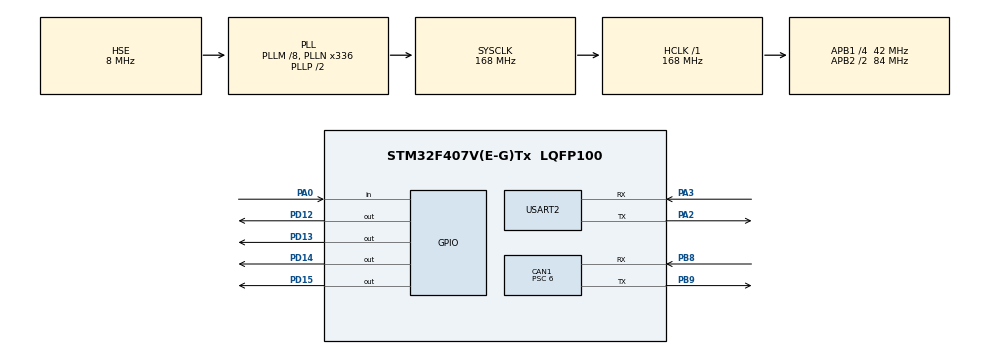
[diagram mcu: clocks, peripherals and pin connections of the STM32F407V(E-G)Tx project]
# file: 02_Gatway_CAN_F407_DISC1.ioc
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CAN1.BS1=CAN_BS1_11TQ
CAN1.BS2=CAN_BS2_2TQ
CAN1.CalculateBaudRate=500000
CAN1.CalculateTimeBit=2000
CAN1.CalculateTimeQuantum=142.85714285714286
CAN1.Prescaler=6
Mcu.Family=STM32F4
Mcu.Name=STM32F407V(E-G)Tx
Mcu.Package=LQFP100
NVIC.CAN1_RX0_IRQn=true\:1\:0\:true\:false\:true\:true\:true\:true
NVIC.PriorityGroup=NVIC_PRIORITYGROUP_4
NVIC.USART2_IRQn=true\:1\:0\:true\:false\:true\:true\:true\:true
PA0-WKUP.Signal=GPIO_Input
PA2.Mode=Asynchronous
PA2.Signal=USART2_TX
PA3.Mode=Asynchronous
PA3.Signal=USART2_RX
PB8.Mode=CAN_Activate
PB8.Signal=CAN1_RX
PB9.Mode=CAN_Activate
PB9.Signal=CAN1_TX
PD12.Signal=GPIO_Output
PD13.Signal=GPIO_Output
PD14.Signal=GPIO_Output
PD15.Signal=GPIO_Output
PH0-OSC_IN.Mode=HSE-External-Oscillator
PH0-OSC_IN.Signal=RCC_OSC_IN
PH1-OSC_OUT.Mode=HSE-External-Oscillator
PH1-OSC_OUT.Signal=RCC_OSC_OUT
ProjectManager.HeapSize=0x200
ProjectManager.StackSize=0x400
ProjectManager.TargetToolchain=STM32CubeIDE
RCC.48MHZClocksFreq_Value=48000000
RCC.AHBFreq_Value=168000000
RCC.APB1CLKDivider=RCC_HCLK_DIV4
RCC.APB1Freq_Value=42000000
RCC.APB1TimFreq_Value=84000000
RCC.APB2CLKDivider=RCC_HCLK_DIV2
RCC.APB2Freq_Value=84000000
RCC.APB2TimFreq_Value=168000000
RCC.CortexFreq_Value=168000000
RCC.HCLKFreq_Value=168000000
RCC.HSE_VALUE=8000000
RCC.HSI_VALUE=16000000
RCC.LSE_VALUE=32768
RCC.PLLM=8
RCC.PLLN=336
RCC.PLLQ=7
RCC.PLLSourceVirtual=RCC_PLLSOURCE_HSE
RCC.SYSCLKFreq_VALUE=168000000
RCC.SYSCLKSource=RCC_SYSCLKSOURCE_PLLCLK
RCC.VCOOutputFreq_Value=336000000
USART2.VirtualMode=VM_ASYNC
board=STM32F407G-DISC1

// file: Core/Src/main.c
/* USER CODE BEGIN Header */
/**
  ******************************************************************************
  * @file           : main.c
  * @brief          : Main program body
  ******************************************************************************
  * @attention
  *
  * Copyright (c) 2025 STMicroelectronics.
  * All rights reserved.
  *
  * This software is licensed under terms that can be found in the LICENSE file
  * in the root directory of this software component.
  * If no LICENSE file comes with this software, it is provided AS-IS.
  *
  ******************************************************************************
  */
/* USER CODE END Header */
#include "main.h"

/* USER CODE BEGIN Includes */
#include <string.h>
#include <stdio.h>
/* USER CODE END Includes */

/* USER CODE BEGIN PD */
#define RX_BUFFER_SIZE 20
/* USER CODE END PD */

CAN_HandleTypeDef hcan1;

UART_HandleTypeDef huart2;

/* USER CODE BEGIN PV */

CAN_RxHeaderTypeDef rxHeader;
uint8_t rxData[8];

uint8_t canIdBuffer[4];
uint32_t receivedCanId;

/* USER CODE END PV */

void SystemClock_Config(void);
static void MX_GPIO_Init(void);
static void MX_CAN1_Init(void);
static void MX_USART2_UART_Init(void);
/* USER CODE BEGIN PFP */
void sendTestCANFrames(void);
void sendTestUartCANFrames(void);
/* USER CODE END PFP */

int main(void)
{

  /* MCU Configuration--------------------------------------------------------*/

  /* Reset of all peripherals, Initializes the Flash interface and the Systick. */
  HAL_Init();

  /* Configure the system clock */
  SystemClock_Config();

  /* Initialize all configured peripherals */
  MX_GPIO_Init();
  MX_CAN1_Init();
  MX_USART2_UART_Init();
  /* USER CODE BEGIN 2 */

  char msg[] = "Hello from STM32F407!\r\n";

  // Transmit message
  HAL_UART_Transmit(&huart2, (uint8_t*)msg, strlen(msg), 100);

  HAL_UART_Receive_IT(&huart2, canIdBuffer, 4);

  /* USER CODE END 2 */

  /* Infinite loop */
  while (1)
  {

      /* USER CODE BEGIN 3 */
      // Check if User Button is pressed (active HIGH)
   /*   if (HAL_GPIO_ReadPin(GPIOA, GPIO_PIN_0) == GPIO_PIN_SET)
      {
          // Simple debounce delay
          HAL_Delay(50);

          // Check again to confirm button press
          if (HAL_GPIO_ReadPin(GPIOA, GPIO_PIN_0) == GPIO_PIN_SET)
          {
              //sendTestCANFrames(); // Call your function
              sendTestUartCANFrames();   // 🔥 Send the 3 test messages
              // Wait until button is released to avoid multiple triggers
              while (HAL_GPIO_ReadPin(GPIOA, GPIO_PIN_0) == GPIO_PIN_SET);
          }
      }*/

  }
  /* USER CODE END 3 */
  }

void SystemClock_Config(void)
{
  RCC_OscInitTypeDef RCC_OscInitStruct = {0};
  RCC_ClkInitTypeDef RCC_ClkInitStruct = {0};

  /** Configure the main internal regulator output voltage
  */
  __HAL_RCC_PWR_CLK_ENABLE();
  __HAL_PWR_VOLTAGESCALING_CONFIG(PWR_REGULATOR_VOLTAGE_SCALE1);

  /** Initializes the RCC Oscillators according to the specified parameters
  * in the RCC_OscInitTypeDef structure.
  */
  RCC_OscInitStruct.OscillatorType = RCC_OSCILLATORTYPE_HSE;
  RCC_OscInitStruct.HSEState = RCC_HSE_ON;
  RCC_OscInitStruct.PLL.PLLState = RCC_PLL_ON;
  RCC_OscInitStruct.PLL.PLLSource = RCC_PLLSOURCE_HSE;
  RCC_OscInitStruct.PLL.PLLM = 8;
  RCC_OscInitStruct.PLL.PLLN = 336;
  RCC_OscInitStruct.PLL.PLLP = RCC_PLLP_DIV2;
  RCC_OscInitStruct.PLL.PLLQ = 7;
  if (HAL_RCC_OscConfig(&RCC_OscInitStruct) != HAL_OK)
  {
    Error_Handler();
  }

  /** Initializes the CPU, AHB and APB buses clocks
  */
  RCC_ClkInitStruct.ClockType = RCC_CLOCKTYPE_HCLK|RCC_CLOCKTYPE_SYSCLK
                              |RCC_CLOCKTYPE_PCLK1|RCC_CLOCKTYPE_PCLK2;
  RCC_ClkInitStruct.SYSCLKSource = RCC_SYSCLKSOURCE_PLLCLK;
  RCC_ClkInitStruct.AHBCLKDivider = RCC_SYSCLK_DIV1;
  RCC_ClkInitStruct.APB1CLKDivider = RCC_HCLK_DIV4;
  RCC_ClkInitStruct.APB2CLKDivider = RCC_HCLK_DIV2;

  if (HAL_RCC_ClockConfig(&RCC_ClkInitStruct, FLASH_LATENCY_5) != HAL_OK)
  {
    Error_Handler();
  }
}

static void MX_CAN1_Init(void)
{

  hcan1.Instance = CAN1;
  hcan1.Init.Prescaler = 6;
  hcan1.Init.Mode = CAN_MODE_NORMAL;
  hcan1.Init.SyncJumpWidth = CAN_SJW_1TQ;
  hcan1.Init.TimeSeg1 = CAN_BS1_11TQ;
  hcan1.Init.TimeSeg2 = CAN_BS2_2TQ;
  hcan1.Init.TimeTriggeredMode = DISABLE;
  hcan1.Init.AutoBusOff = DISABLE;
  hcan1.Init.AutoWakeUp = DISABLE;
  hcan1.Init.AutoRetransmission = DISABLE;
  hcan1.Init.ReceiveFifoLocked = DISABLE;
  hcan1.Init.TransmitFifoPriority = DISABLE;
  if (HAL_CAN_Init(&hcan1) != HAL_OK)
  {
    Error_Handler();
  }
  /* USER CODE BEGIN CAN1_Init 2 */

  // Filter: accept everything
 /* CAN_FilterTypeDef filter;

  filter.FilterActivation = ENABLE;
  filter.FilterBank = 0;
  filter.FilterFIFOAssignment = CAN_FILTER_FIFO0;
  filter.FilterIdHigh = 0;
  filter.FilterIdLow = 0;
  filter.FilterMaskIdHigh = 0;
  filter.FilterMaskIdLow = 0;
  filter.FilterMode = CAN_FILTERMODE_IDMASK;
  filter.FilterScale = CAN_FILTERSCALE_32BIT;

  HAL_CAN_ConfigFilter(&hcan1, &filter);
*/

  CAN_FilterTypeDef filter;
  // bank 0 -> ID1 & ID2
  uint32_t v1 = (0x1904001 << 3) | (1U<<2);
  uint32_t v2 = (0x1914001 << 3) | (1U<<2);

  filter.FilterBank = 0;
  filter.FilterMode = CAN_FILTERMODE_IDLIST;
  filter.FilterScale = CAN_FILTERSCALE_32BIT;
  filter.FilterFIFOAssignment = CAN_FILTER_FIFO0;
  filter.FilterActivation = ENABLE;

  filter.FilterIdHigh = (v1 >> 16) & 0xFFFF;
  filter.FilterIdLow  = v1 & 0xFFFF;
  filter.FilterMaskIdHigh = (v2 >> 16) & 0xFFFF; // second ID
  filter.FilterMaskIdLow  = v2 & 0xFFFF;

  HAL_CAN_ConfigFilter(&hcan1, &filter);

  // bank 1 -> ID3 only (put ID3 + a dummy (e.g. 0xFFFFFFFF))
  uint32_t v3 = (0x1924001 << 3) | (1U<<2);
  uint32_t dummy = 0xFFFFFFFF;

  filter.FilterBank = 1;
  filter.FilterIdHigh = (v3 >> 16) & 0xFFFF;
  filter.FilterIdLow  = v3 & 0xFFFF;
  filter.FilterMaskIdHigh = (dummy >> 16) & 0xFFFF;
  filter.FilterMaskIdLow  = dummy & 0xFFFF;

  HAL_CAN_ConfigFilter(&hcan1, &filter);

  HAL_CAN_Start(&hcan1);
  HAL_CAN_ActivateNotification(&hcan1, CAN_IT_RX_FIFO0_MSG_PENDING);

  /* USER CODE END CAN1_Init 2 */

}

static void MX_USART2_UART_Init(void)
{

  huart2.Instance = USART2;
  huart2.Init.BaudRate = 115200;
  huart2.Init.WordLength = UART_WORDLENGTH_8B;
  huart2.Init.StopBits = UART_STOPBITS_1;
  huart2.Init.Parity = UART_PARITY_NONE;
  huart2.Init.Mode = UART_MODE_TX_RX;
  huart2.Init.HwFlowCtl = UART_HWCONTROL_NONE;
  huart2.Init.OverSampling = UART_OVERSAMPLING_16;
  if (HAL_UART_Init(&huart2) != HAL_OK)
  {
    Error_Handler();
  }

}

static void MX_GPIO_Init(void)
{
  GPIO_InitTypeDef GPIO_InitStruct = {0};

  /* GPIO Ports Clock Enable */
  __HAL_RCC_GPIOH_CLK_ENABLE();
  __HAL_RCC_GPIOA_CLK_ENABLE();
  __HAL_RCC_GPIOD_CLK_ENABLE();
  __HAL_RCC_GPIOB_CLK_ENABLE();

  /*Configure GPIO pin Output Level */
  HAL_GPIO_WritePin(GPIOD, GPIO_PIN_12|GPIO_PIN_13|GPIO_PIN_14|GPIO_PIN_15, GPIO_PIN_RESET);

  /*Configure GPIO pin : PA0 */
  GPIO_InitStruct.Pin = GPIO_PIN_0;
  GPIO_InitStruct.Mode = GPIO_MODE_INPUT;
  GPIO_InitStruct.Pull = GPIO_NOPULL;
  HAL_GPIO_Init(GPIOA, &GPIO_InitStruct);

  /*Configure GPIO pins : PD12 PD13 PD14 PD15 */
  GPIO_InitStruct.Pin = GPIO_PIN_12|GPIO_PIN_13|GPIO_PIN_14|GPIO_PIN_15;
  GPIO_InitStruct.Mode = GPIO_MODE_OUTPUT_PP;
  GPIO_InitStruct.Pull = GPIO_NOPULL;
  GPIO_InitStruct.Speed = GPIO_SPEED_FREQ_LOW;
  HAL_GPIO_Init(GPIOD, &GPIO_InitStruct);

}

/* USER CODE BEGIN 4 */

/***************receive real id from UART & send to f7 via can **********************/
void HAL_UART_RxCpltCallback(UART_HandleTypeDef *huart)
{
    if (huart->Instance == USART2)
    {
        // Reconstruct 28-bit CAN ID
        uint32_t receivedCanId = ((uint32_t)canIdBuffer[0] << 24) |
                                 ((uint32_t)canIdBuffer[1] << 16) |
                                 ((uint32_t)canIdBuffer[2] << 8)  |
                                 ((uint32_t)canIdBuffer[3]);
        receivedCanId &= 0x0FFFFFFF;  // 28-bit mask

        // Blink LED: ON -> short delay -> OFF
        switch (receivedCanId)
        {
            case 0x1900140: // SOC, total voltage, current
                HAL_GPIO_WritePin(GPIOD, GPIO_PIN_12, GPIO_PIN_SET);
                HAL_Delay(200);
                HAL_GPIO_WritePin(GPIOD, GPIO_PIN_12, GPIO_PIN_RESET);

                break;

            case 0x1910140: // Max/Min cell voltages
               HAL_GPIO_WritePin(GPIOD, GPIO_PIN_13, GPIO_PIN_SET);
               HAL_Delay(200);
               HAL_GPIO_WritePin(GPIOD, GPIO_PIN_13, GPIO_PIN_RESET);

                break;

            case 0x1920140: // Status charge/discharge
                HAL_GPIO_WritePin(GPIOD, GPIO_PIN_15, GPIO_PIN_SET);
                HAL_Delay(200);
                HAL_GPIO_WritePin(GPIOD, GPIO_PIN_15, GPIO_PIN_RESET);

                break;

            default:
                break;
        }

        // ----------------- CAN SEND -----------------
        CAN_TxHeaderTypeDef txHeader;
        uint8_t txData[8] = {0}; // your payload, e.g., zeros
        uint32_t txMailbox;

        txHeader.StdId = 0;           // not used for extended
        txHeader.ExtId = receivedCanId;
        txHeader.IDE = CAN_ID_EXT;    // extended frame
        txHeader.RTR = CAN_RTR_DATA;
        txHeader.DLC = 8;
        txHeader.TransmitGlobalTime = DISABLE;

        if (HAL_CAN_AddTxMessage(&hcan1, &txHeader, txData, &txMailbox) != HAL_OK)
        {
            // Error handling led red
        	 HAL_GPIO_TogglePin(GPIOD, GPIO_PIN_14);
        	  HAL_Delay(500);

        }

        // Restart UART interrupt for next ID
        HAL_UART_Receive_IT(&huart2, canIdBuffer, 4);
    }
}

/**********************receive real data from f7 via can & send to uart  ****************************/

void HAL_CAN_RxFifo0MsgPendingCallback(CAN_HandleTypeDef *hcan)
{
    HAL_CAN_GetRxMessage(hcan, CAN_RX_FIFO0, &rxHeader, rxData);

    char uartMsg[150];

    if (rxHeader.IDE == CAN_ID_EXT)
    {
        switch (rxHeader.ExtId)
        {
            // -------------------------------------------------------
            // 1️⃣ Answer to ID 0x1900140 → F7 sends SOC, voltages, current
            // -------------------------------------------------------
            case 0x1904001:
            {
                HAL_GPIO_WritePin(GPIOD, GPIO_PIN_14, GPIO_PIN_SET);
                HAL_Delay(100);
                HAL_GPIO_WritePin(GPIOD, GPIO_PIN_14, GPIO_PIN_RESET);

                uint16_t cumVolt   = (rxData[0] << 8) | rxData[1];    // 0.1V
                uint16_t packVolt  = (rxData[2] << 8) | rxData[3];    // 0.1V
                int16_t  current   = (rxData[4] << 8) | rxData[5];    // Offset 30000 → 0.1A
                uint16_t SOC       = (rxData[6] << 8) | rxData[7];    // 0.1%

                current -= 30000; // remove offset

                snprintf(uartMsg, sizeof(uartMsg),
                    "\r\n[ID 0x1904001] SOC=%.1f%%  CumVolt=%.1fV  PackVolt=%.1fV  Current=%.1fA\r\n",
                    SOC/10.0, cumVolt/10.0, packVolt/10.0, current/10.0);

                HAL_UART_Transmit(&huart2, (uint8_t*)uartMsg, strlen(uartMsg), 500);
                break;
            }

            // -------------------------------------------------------
            // 2️⃣ Answer to ID 0x1910140 → Max/Min cell voltages
            // -------------------------------------------------------
            case 0x1914001:
            {
                HAL_GPIO_WritePin(GPIOD, GPIO_PIN_14, GPIO_PIN_SET);
                HAL_Delay(100);
                HAL_GPIO_WritePin(GPIOD, GPIO_PIN_14, GPIO_PIN_RESET);

                uint16_t maxV = (rxData[0] << 8) | rxData[1];
                uint8_t  maxCell = rxData[2];
                uint16_t minV = (rxData[3] << 8) | rxData[4];
                uint8_t  minCell = rxData[5];

                snprintf(uartMsg, sizeof(uartMsg),
                    "\r\n[ID 0x1914001] Max=%.3fV(Cell %d)  Min=%.3fV(Cell %d)\r\n",
                    maxV/1000.0, maxCell, minV/1000.0, minCell);

                HAL_UART_Transmit(&huart2, (uint8_t*)uartMsg, strlen(uartMsg), 500);
                break;
            }

            // -------------------------------------------------------
            // 3️⃣ Answer to ID 0x1920140 → temperatures
            // -------------------------------------------------------
            case 0x1924001:
            {
                HAL_GPIO_WritePin(GPIOD, GPIO_PIN_14, GPIO_PIN_SET);
                HAL_Delay(100);
                HAL_GPIO_WritePin(GPIOD, GPIO_PIN_14, GPIO_PIN_RESET);

                uint8_t maxTemp = rxData[0] - 40;
                uint8_t maxTempCell = rxData[1];

                uint8_t minTemp = rxData[2] - 40;
                uint8_t minTempCell = rxData[3];

                snprintf(uartMsg, sizeof(uartMsg),
                    "\r\n[ID 0x1924001] MaxTemp=%dC(Cell %d)  MinTemp=%dC(Cell %d)\r\n",
                    maxTemp, maxTempCell, minTemp, minTempCell);

                HAL_UART_Transmit(&huart2, (uint8_t*)uartMsg, strlen(uartMsg), 500);
                break;
            }

            default:
                break;
        }
    }
}

/**********************TEST F4 TO F7 WITHOUT UART*********************/

void sendTestCANFrames(void)
{
    uint32_t testIds[3] = {0x1900140, 0x1910140, 0x1920140};
    uint8_t txData[8] = {0}; // payload zeros
    CAN_TxHeaderTypeDef txHeader;
    uint32_t txMailbox;

    for(int i = 0; i < 3; i++)
    {
        txHeader.StdId = 0;           // Not used for extended
        txHeader.ExtId = testIds[i];  // 28-bit extended ID
        txHeader.IDE = CAN_ID_EXT;
        txHeader.RTR = CAN_RTR_DATA;
        txHeader.DLC = 8;
        txHeader.TransmitGlobalTime = DISABLE;

        if(HAL_CAN_AddTxMessage(&hcan1, &txHeader, txData, &txMailbox) == HAL_OK)
        {
            // LED blink to indicate frame sent
            HAL_GPIO_WritePin(GPIOD, GPIO_PIN_12, GPIO_PIN_SET);
            HAL_Delay(100);
            HAL_GPIO_WritePin(GPIOD, GPIO_PIN_12, GPIO_PIN_RESET);

        } else {
            // Error handling led red
            HAL_GPIO_TogglePin(GPIOD, GPIO_PIN_14);
            HAL_Delay(500);
        }

        HAL_Delay(500); // wait 0.5s between frames
    }
}

/*******************TEST F4 DATA FROMF7 TO UART********************************/
void sendTestUartCANFrames(void)
{
    char uartMsg[120];

    // 1️⃣ ID 0x1904001
    snprintf(uartMsg, sizeof(uartMsg),
        "\r\n[ID 0x1904001] SOC=%.1f%%  CumVolt=%.1fV  PackVolt=%.1fV  Current=%.1fA\r\n",
        75.3f, 387.0f, 385.5f, -12.4f);
    HAL_UART_Transmit(&huart2, (uint8_t*)uartMsg, strlen(uartMsg), 1000); // big timeout
    HAL_Delay(50);

    // 2️⃣ ID 0x1914001
    snprintf(uartMsg, sizeof(uartMsg),
        "\r\n[ID 0x1914001] Max=%.3fV(Cell %d)  Min=%.3fV(Cell %d)\r\n",
        4.123f, 7, 3.987f, 12);
    HAL_UART_Transmit(&huart2, (uint8_t*)uartMsg, strlen(uartMsg), 1000);
    HAL_Delay(50);

    // 3️⃣ ID 0x1924001
    snprintf(uartMsg, sizeof(uartMsg),
        "\r\n[ID 0x1924001] MaxTemp=%dC(Cell %d)  MinTemp=%dC(Cell %d)\r\n",
        45, 3, 21, 10);
    HAL_UART_Transmit(&huart2, (uint8_t*)uartMsg, strlen(uartMsg), 1000);
    HAL_Delay(50);
}

/* USER CODE END 4 */

void Error_Handler(void)
{
  __disable_irq();
  while (1)
  {
  }
}
